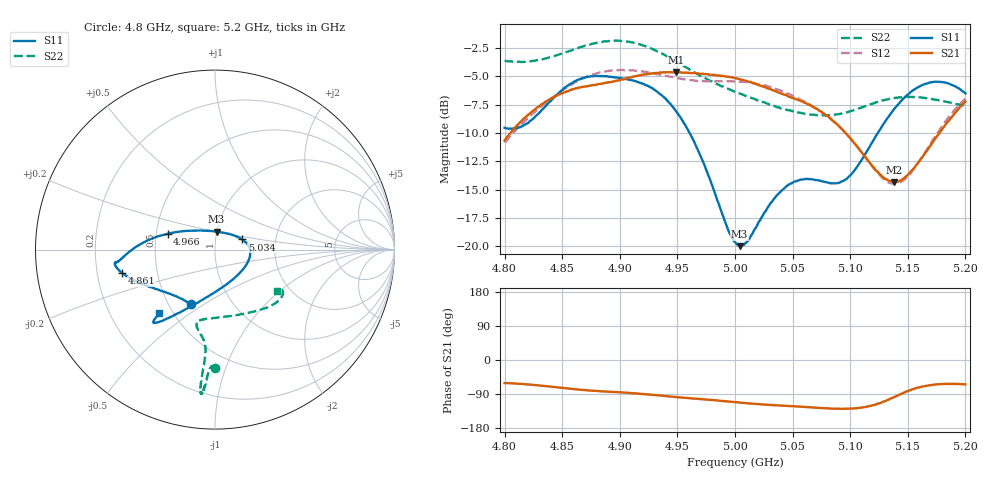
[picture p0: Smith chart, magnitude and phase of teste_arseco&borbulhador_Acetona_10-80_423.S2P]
! Network Analyzer HP8722D
! Hewlett-Packard
! Data name: Linha & Wilkinson
! Saver's name: Rodrigo Anjos
! Comments: Teste da utilização de aquisição
! continua pelo VNA HP8722D
! Time and date: 17/4/2025 17:53
!  Frequency  S11  S21  S12  S22
# HZ  S  MA R 50
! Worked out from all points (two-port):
!   401 points, 4.8 GHz to 5.2 GHz, reference 50 ohm
!   highest |S21| = -4.62 dB at 4.949 GHz (marker M1); lowest = -14.3 dB at 5.138 GHz (marker M2)
!   |S21| within 3 dB of the highest: 4.83 GHz to 5.066 GHz (235.9 MHz wide, 4.77 % of centre); 5.196201 GHz to end of sweep
!   lowest |S11| = -20.0 dB at 5.004 GHz (marker M3), VSWR 1.22, Z = 49.9 + j10.1 ohm
!   |S11| at or under -10 dB: 4.961 GHz to 5.124 GHz (163.3 MHz wide, 3.24 % of centre)
!   |S22| runs from -8.5 to -1.8 dB; largest |S21 - S12| = 0.88
!   S11 on the Smith chart (normalised r, x): 4.8 GHz: 0.65, -0.44; 4.861 GHz: 0.31, -0.11; 4.966 GHz: 0.57, +0.11; 5.034 GHz: 1.35, +0.16; 5.2 GHz: 0.42, -0.39
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4.8e9  0.3332 -113.6  0.2926 -60.9  0.287 -175.0  0.6579 -90.1
4.819e9  0.3475 -133.8  0.3739 -64.3  0.3624 -173.7  0.6524 -91.7
4.861e9  0.5348 -165.9  0.4952 -77.1  0.528 -176.9  0.7411 -94.0
4.867e9  0.5496 -168.2  0.5037 -78.7  0.5461 -178.0  0.7587 -94.1
4.9e9  0.5526 -172.8  0.5405 -85.3  0.5977 175.5  0.8048 -95.5
4.934e9  0.4734 -178.9  0.5824 -93.6  0.5759 171.7  0.718 -96.1
4.949e9  0.3934 173.8  0.5875 -97.5  0.5539 172.1  0.6533 -95.7
4.966e9  0.2787 161.5  0.5795 -102.0  0.5374 173.7  0.5806 -95.2
4.993e9  0.1222 120.0  0.559 -109.2  0.5343 176.0  0.4966 -97.8
5e9  0.1044 98.7  0.5505 -111.1  0.5337 176.0  0.4807 -99.4
5.004e9  0.1003 85.0  0.5464 -112.1  0.5325 176.1  0.4726 -100.4
5.011e9  0.1056 62.1  0.534 -114.2  0.5286 175.8  0.4577 -101.8
5.034e9  0.1627 20.5  0.4844 -119.4  0.4975 174.7  0.4159 -103.6
5.049e9  0.1893 5.3  0.4523 -121.8  0.4639 174.1  0.3949 -99.9
5.067e9  0.1976 -14.1  0.4142 -125.3  0.416 173.7  0.381 -90.6
5.087e9  0.1896 -46.3  0.3505 -128.6  0.3501 173.6  0.3808 -75.4
5.097e9  0.1986 -67.0  0.3117 -128.8  0.3118 174.6  0.3901 -67.0
5.134e9  0.3775 -117.0  0.1941 -103.5  0.1908 -156.4  0.4469 -43.0
5.138e9  0.4025 -119.2  0.1918 -97.9  0.1891 -150.0  0.4501 -41.1
5.151e9  0.4714 -125.0  0.2093 -80.7  0.2069 -130.2  0.4562 -36.5
5.17e9  0.5286 -129.4  0.2793 -66.1  0.2853 -112.3  0.4471 -32.0
5.2e9  0.4723 -131.1  0.435 -64.5  0.4475 -106.5  0.4162 -33.5
